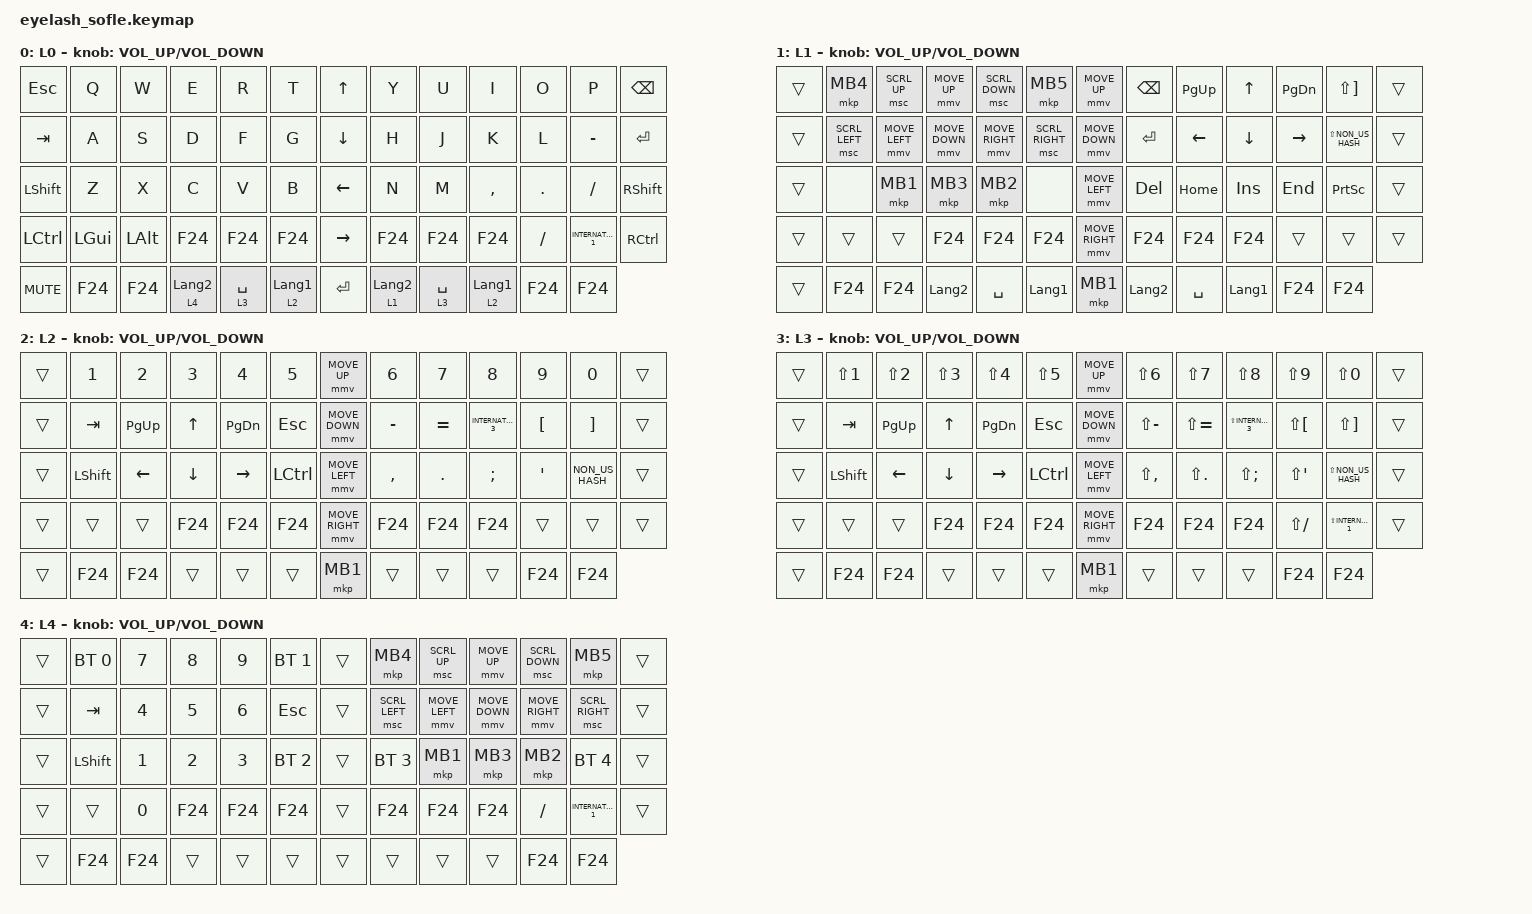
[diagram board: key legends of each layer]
#define ZMK_POINTING_DEFAULT_MOVE_VAL 1200  // 600
#define ZMK_POINTING_DEFAULT_SCRL_VAL 25   // 10

#include <input/processors.dtsi>
#include <zephyr/dt-bindings/input/input-event-codes.h>
#include <behaviors.dtsi>
#include <dt-bindings/zmk/bt.h>
#include <dt-bindings/zmk/keys.h>
#include <dt-bindings/zmk/pointing.h>

&mmv_input_listener { input-processors = <&zip_xy_scaler 2 1>; };

&msc_input_listener { input-processors = <&zip_scroll_scaler 2 1>; };

&msc {
    acceleration-exponent = <1>;      // 0
    time-to-max-speed-ms = <100>;       // 300
    delay-ms = <0>;                   // 0
};

&mmv {
    time-to-max-speed-ms = <500>;
    acceleration-exponent = <1>;
    trigger-period-ms = <16>;
};

&soft_off { hold-time-ms = <2000>; };

/ {
    scroll_encoder: scroll_encoder {
        compatible = "zmk,behavior-sensor-rotate";
        #sensor-binding-cells = <0>;
        bindings = <&msc SCRL_DOWN>, <&msc SCRL_UP>;

        tap-ms = <100>;
    };

    behaviors {
    };

    combos {
        compatible = "zmk,combos";

        softoff {
            bindings = <&soft_off>;
            key-positions = <14 28 40>;
        };

        C2 {
            bindings = <&kp F2>;
            key-positions = <1 2>;
        };

        C3 {
            bindings = <&kp F3>;
            key-positions = <2 3>;
        };

        C4 {
            bindings = <&kp F4>;
            key-positions = <3 4>;
        };

        C5 {
            bindings = <&kp F5>;
            key-positions = <4 5>;
        };

        C6 {
            bindings = <&kp F6>;
            key-positions = <7 8>;
        };

        C7 {
            bindings = <&kp F7>;
            key-positions = <8 9>;
        };

        C10 {
            bindings = <&kp F10>;
            key-positions = <9 9 10>;
        };

        C11 {
            bindings = <&kp F11>;
            key-positions = <10 11>;
        };

        C13 {
            bindings = <&kp LS(NUMBER_8)>;
            key-positions = <28 29>;
        };

        C14 {
            bindings = <&kp LS(NUMBER_9)>;
            key-positions = <29 30>;
        };

        C15 {
            bindings = <&kp LS(INTERNATIONAL_1)>;
            key-positions = <30 31>;
        };

        C16 {
            bindings = <&kp SINGLE_QUOTE>;
            key-positions = <15 16>;
        };

        C17 {
            bindings = <&kp LS(INTERNATIONAL_1)>;
            key-positions = <16 17>;
        };

        C21 {
            bindings = <&kp LS(SLASH)>;
            key-positions = <49 50>;
        };

        C22 {
            bindings = <&kp LS(INTERNATIONAL_1)>;
            key-positions = <50 51>;
        };

        C23 {
            bindings = <&kp SEMI>;
            key-positions = <35 36>;
        };

        C24 {
            bindings = <&kp SINGLE_QUOTE>;
            key-positions = <36 37>;
        };

        C25 {
            bindings = <&kp NON_US_HASH>;
            key-positions = <37 38>;
        };

        C26 {
            bindings = <&kp MINUS>;
            key-positions = <20 21>;
        };

        C27 {
            bindings = <&kp EQUAL>;
            key-positions = <21 22>;
        };

        C28 {
            bindings = <&kp INTERNATIONAL_3>;
            key-positions = <22 23>;
        };

        C29 {
            bindings = <&kp LEFT_BRACKET>;
            key-positions = <23 24>;
        };

        C30 {
            bindings = <&kp RIGHT_BRACKET>;
            key-positions = <24 25>;
        };

        C31 {
            bindings = <&kp DELETE>;
            key-positions = <11 12>;
        };
    };

    macros {
        SHIFT_MCLK: SHIFT_MCLK {
            compatible = "zmk,behavior-macro";
            #binding-cells = <0>;
            bindings =
                <&macro_press>,
                <&kp LEFT_SHIFT>,
                <&macro_press>,
                <&mkp MB3>,
                <&macro_pause_for_release>,
                <&macro_release>,
                <&kp LEFT_SHIFT &mkp MB3>;

            label = "SHIFT_MCLK";
        };

        M0: M0 {
            compatible = "zmk,behavior-macro";
            #binding-cells = <0>;
            bindings = <&kp LA(LS(TAB))>;
            label = "M0";
        };

        M1: M1 {
            compatible = "zmk,behavior-macro";
            #binding-cells = <0>;
            bindings = <&kp LA(TAB)>;
            label = "M1";
        };

        M2: M2 {
            compatible = "zmk,behavior-macro";
            #binding-cells = <0>;
            bindings = <&kp LS(LC(TAB))>;
            label = "M2";
        };

        M3: M3 {
            compatible = "zmk,behavior-macro";
            #binding-cells = <0>;
            bindings = <&kp LC(TAB)>;
            label = "M3";
        };
    };

    keymap {
        compatible = "zmk,keymap";

        layer0 {
            bindings = <
&kp ESCAPE        &kp Q         &kp W         &kp E             &kp R        &kp T               &kp UP_ARROW     &kp Y             &kp U        &kp I             &kp O       &kp P                &kp BACKSPACE
&kp TAB           &kp A         &kp S         &kp D             &kp F        &kp G               &kp DOWN_ARROW   &kp H             &kp J        &kp K             &kp L       &kp MINUS            &kp ENTER
&kp LEFT_SHIFT    &kp Z         &kp X         &kp C             &kp V        &kp B               &kp LEFT_ARROW   &kp N             &kp M        &kp COMMA         &kp PERIOD  &kp SLASH            &kp RSHFT
&kp LEFT_CONTROL  &kp LEFT_GUI  &kp LEFT_ALT  &kp F24           &kp F24      &kp F24             &kp RIGHT_ARROW  &kp F24           &kp F24      &kp F24           &kp SLASH   &kp INTERNATIONAL_1  &kp RCTRL
&kp C_MUTE        &kp F24       &kp F24       &lt 4 LANGUAGE_2  &lt 3 SPACE  &lt 2 LANGUAGE_1    &kp ENTER        &lt 1 LANGUAGE_2  &lt 3 SPACE  &lt 2 LANGUAGE_1  &kp F24     &kp F24
            >;

            sensor-bindings = <&inc_dec_kp C_VOLUME_UP C_VOLUME_DOWN>;
            display-name = "L0";
        };

        layer_1 {
            bindings = <
&trans  &mkp MB4        &msc SCRL_UP    &mmv MOVE_UP    &msc SCRL_DOWN   &mkp MB5           &mmv MOVE_UP     &kp BACKSPACE   &kp PAGE_UP     &kp UP_ARROW    &kp PAGE_DOWN    &kp LS(RIGHT_BRACKET)  &trans
&trans  &msc SCRL_LEFT  &mmv MOVE_LEFT  &mmv MOVE_DOWN  &mmv MOVE_RIGHT  &msc SCRL_RIGHT    &mmv MOVE_DOWN   &kp ENTER       &kp LEFT_ARROW  &kp DOWN_ARROW  &kp RIGHT_ARROW  &kp LS(NON_US_HASH)    &trans
&trans  &none           &mkp MB1        &mkp MB3        &mkp MB2         &none              &mmv MOVE_LEFT   &kp DELETE      &kp HOME        &kp INSERT      &kp END          &kp PRINTSCREEN        &trans
&trans  &trans          &trans          &kp F24         &kp F24          &kp F24            &mmv MOVE_RIGHT  &kp F24         &kp F24         &kp F24         &trans           &trans                 &trans
&trans  &kp F24         &kp F24         &kp LANGUAGE_2  &kp SPACE        &kp LANGUAGE_1     &mkp MB1         &kp LANGUAGE_2  &kp SPACE       &kp LANGUAGE_1  &kp F24          &kp F24
            >;

            display-name = "L1";
            sensor-bindings = <&inc_dec_kp C_VOLUME_UP C_VOLUME_DOWN>;
        };

        layer_2 {
            bindings = <
&trans  &kp NUMBER_1    &kp NUMBER_2    &kp NUMBER_3    &kp NUMBER_4     &kp N5              &mmv MOVE_UP     &kp NUMBER_6  &kp NUMBER_7  &kp NUMBER_8         &kp NUMBER_9      &kp NUMBER_0       &trans
&trans  &kp TAB         &kp PAGE_UP     &kp UP_ARROW    &kp PAGE_DOWN    &kp ESCAPE          &mmv MOVE_DOWN   &kp MINUS     &kp EQUAL     &kp INTERNATIONAL_3  &kp LEFT_BRACKET  &kp RIGHT_BRACKET  &trans
&trans  &kp LEFT_SHIFT  &kp LEFT_ARROW  &kp DOWN_ARROW  &kp RIGHT_ARROW  &kp LEFT_CONTROL    &mmv MOVE_LEFT   &kp COMMA     &kp PERIOD    &kp SEMICOLON        &kp SINGLE_QUOTE  &kp NON_US_HASH    &trans
&trans  &trans          &trans          &kp F24         &kp F24          &kp F24             &mmv MOVE_RIGHT  &kp F24       &kp F24       &kp F24              &trans            &trans             &trans
&trans  &kp F24         &kp F24         &trans          &trans           &trans              &mkp MB1         &trans        &trans        &trans               &kp F24           &kp F24
            >;

            display-name = "L2";
            sensor-bindings = <&inc_dec_kp C_VOLUME_UP C_VOLUME_DOWN>;
        };

        layer_3 {
            bindings = <
&trans  &kp LS(NUMBER_1)  &kp LS(NUMBER_2)  &kp LS(NUMBER_3)  &kp LS(NUMBER_4)  &kp LS(N5)          &mmv MOVE_UP     &kp LS(NUMBER_6)  &kp LS(NUMBER_7)  &kp LS(NUMBER_8)         &kp LS(NUMBER_9)      &kp LS(NUMBER_0)         &trans
&trans  &kp TAB           &kp PAGE_UP       &kp UP_ARROW      &kp PAGE_DOWN     &kp ESCAPE          &mmv MOVE_DOWN   &kp LS(MINUS)     &kp LS(EQUAL)     &kp LS(INTERNATIONAL_3)  &kp LS(LEFT_BRACKET)  &kp LS(RIGHT_BRACKET)    &trans
&trans  &kp LEFT_SHIFT    &kp LEFT_ARROW    &kp DOWN_ARROW    &kp RIGHT_ARROW   &kp LEFT_CONTROL    &mmv MOVE_LEFT   &kp LS(COMMA)     &kp LS(PERIOD)    &kp LS(SEMICOLON)        &kp LS(SINGLE_QUOTE)  &kp LS(NON_US_HASH)      &trans
&trans  &trans            &trans            &kp F24           &kp F24           &kp F24             &mmv MOVE_RIGHT  &kp F24           &kp F24           &kp F24                  &kp LS(SLASH)         &kp LS(INTERNATIONAL_1)  &trans
&trans  &kp F24           &kp F24           &trans            &trans            &trans              &mkp MB1         &trans            &trans            &trans                   &kp F24               &kp F24
            >;

            display-name = "L3";
            sensor-bindings = <&inc_dec_kp C_VOLUME_UP C_VOLUME_DOWN>;
        };

        layer_4 {
            bindings = <
&trans  &bt BT_SEL 0    &kp NUMBER_7  &kp NUMBER_8  &kp NUMBER_9  &bt BT_SEL 1    &trans  &mkp MB4        &msc SCRL_UP    &mmv MOVE_UP    &msc SCRL_DOWN   &mkp MB5             &trans
&trans  &kp TAB         &kp NUMBER_4  &kp NUMBER_5  &kp NUMBER_6  &kp ESCAPE      &trans  &msc SCRL_LEFT  &mmv MOVE_LEFT  &mmv MOVE_DOWN  &mmv MOVE_RIGHT  &msc SCRL_RIGHT      &trans
&trans  &kp LEFT_SHIFT  &kp NUMBER_1  &kp NUMBER_2  &kp NUMBER_3  &bt BT_SEL 2    &trans  &bt BT_SEL 3    &mkp MB1        &mkp MB3        &mkp MB2         &bt BT_SEL 4         &trans
&trans  &trans          &kp NUMBER_0  &kp F24       &kp F24       &kp F24         &trans  &kp F24         &kp F24         &kp F24         &kp SLASH        &kp INTERNATIONAL_1  &trans
&trans  &kp F24         &kp F24       &trans        &trans        &trans          &trans  &trans          &trans          &trans          &kp F24          &kp F24
            >;

            display-name = "L4";
            sensor-bindings = <&inc_dec_kp C_VOLUME_UP C_VOLUME_DOWN>;
        };
    };
};
